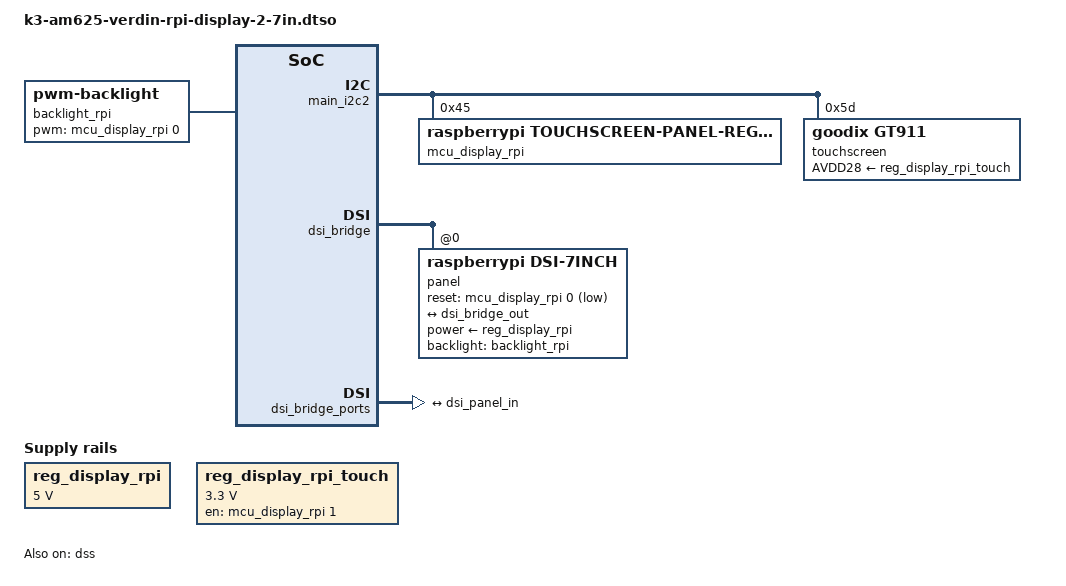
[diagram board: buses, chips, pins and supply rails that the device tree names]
// SPDX-License-Identifier: GPL-2.0-or-later OR MIT
/*
 * Copyright (c) Toradex
 *
 * Raspberry Pi Touch Display 2 7" on Verdin DSI_1 and I2C_2_DSI
 *
 * https://www.raspberrypi.com/products/touch-display-2/
 */

/dts-v1/;
/plugin/;

#include <dt-bindings/gpio/gpio.h>

&{/} {
	backlight_rpi: backlight-rpi-display {
		compatible = "pwm-backlight";
		brightness-levels = <0 31>;
		default-brightness-level = <15>;
		num-interpolated-steps = <31>;
		pwms = <&mcu_display_rpi 0 200000 0>;
	};

	reg_display_rpi: regulator-rpi-display {
		compatible = "regulator-fixed";
		regulator-max-microvolt = <5000000>;
		regulator-min-microvolt = <5000000>;
		regulator-name = "rpi-display";
	};

	reg_display_rpi_touch: regulator-rpi-display-touch {
		compatible = "regulator-fixed";
		gpio = <&mcu_display_rpi 1 GPIO_ACTIVE_HIGH>;
		enable-active-high;
		regulator-max-microvolt = <3300000>;
		regulator-min-microvolt = <3300000>;
		regulator-name = "rpi-display-touch";
		startup-delay-us = <50000>;
	};

};

/* Verdin I2C_2_DSI */
&main_i2c2 {
	#address-cells = <1>;
	#size-cells = <0>;

	mcu_display_rpi: regulator@45 {
		compatible = "raspberrypi,touchscreen-panel-regulator-v2";
		reg = <0x45>;
		#gpio-cells = <2>;
		#pwm-cells = <3>;
		gpio-controller;
	};

	touchscreen@5d {
		compatible = "goodix,gt911";
		reg = <0x5d>;
		AVDD28-supply = <&reg_display_rpi_touch>;
		touchscreen-size-x = <720>;
		touchscreen-size-y = <1280>;
	};
};

&dsi_bridge {
	#address-cells = <1>;
	#size-cells = <0>;

	status = "okay";

	panel@0 {
		compatible = "raspberrypi,dsi-7inch", "ilitek,ili9881c";
		reg = <0>;
		backlight = <&backlight_rpi>;
		power-supply = <&reg_display_rpi>;
		reset-gpios = <&mcu_display_rpi 0 GPIO_ACTIVE_LOW>;

		port {
			dsi_panel_in: endpoint {
				remote-endpoint = <&dsi_bridge_out>;
			};
		};
	};
};

&dsi_bridge_ports {
	#address-cells = <1>;
	#size-cells = <0>;

	port@1 {
		reg = <1>;

		dsi_bridge_out: endpoint {
			remote-endpoint = <&dsi_panel_in>;
		};
	};
};

&dss {
	status = "okay";
};
